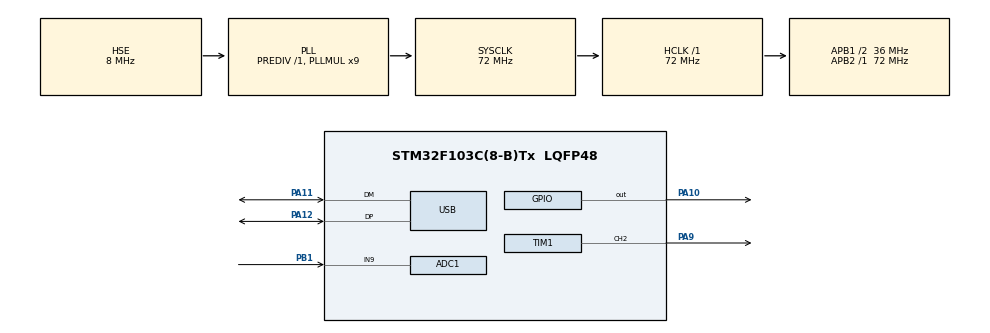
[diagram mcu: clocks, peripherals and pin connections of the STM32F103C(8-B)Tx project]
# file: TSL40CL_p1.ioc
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ADC1.Channel-1\#ChannelRegularConversion=ADC_CHANNEL_9
ADC1.ExternalTrigConv=ADC_EXTERNALTRIGCONV_T1_CC2
ADC1.NbrOfConversionFlag=1
ADC1.Rank-1\#ChannelRegularConversion=1
ADC1.SamplingTime-1\#ChannelRegularConversion=ADC_SAMPLETIME_1CYCLE_5
ADC1.master=1
Dma.ADC1.0.Direction=DMA_PERIPH_TO_MEMORY
Dma.ADC1.0.Instance=DMA1_Channel1
Dma.ADC1.0.MemDataAlignment=DMA_MDATAALIGN_HALFWORD
Dma.ADC1.0.MemInc=DMA_MINC_ENABLE
Dma.ADC1.0.Mode=DMA_NORMAL
Dma.ADC1.0.PeriphDataAlignment=DMA_PDATAALIGN_HALFWORD
Dma.ADC1.0.PeriphInc=DMA_PINC_DISABLE
Dma.ADC1.0.Priority=DMA_PRIORITY_LOW
Dma.Request0=ADC1
Mcu.Family=STM32F1
Mcu.Name=STM32F103C(8-B)Tx
Mcu.Package=LQFP48
NVIC.DMA1_Channel1_IRQn=true\:0\:0\:false\:false\:true\:false\:true\:true
NVIC.PriorityGroup=NVIC_PRIORITYGROUP_4
NVIC.USB_LP_CAN1_RX0_IRQn=true\:0\:0\:false\:false\:true\:false\:true\:true
PA10.Signal=GPIO_Output
PA11.Mode=Device
PA11.Signal=USB_DM
PA12.Mode=Device
PA12.Signal=USB_DP
PA9.Signal=S_TIM1_CH2
PB1.Signal=ADCx_IN9
PC14-OSC32_IN.Mode=LSE-External-Oscillator
PC14-OSC32_IN.Signal=RCC_OSC32_IN
PC15-OSC32_OUT.Mode=LSE-External-Oscillator
PC15-OSC32_OUT.Signal=RCC_OSC32_OUT
PD0-OSC_IN.Mode=HSE-External-Oscillator
PD0-OSC_IN.Signal=RCC_OSC_IN
PD1-OSC_OUT.Mode=HSE-External-Oscillator
PD1-OSC_OUT.Signal=RCC_OSC_OUT
ProjectManager.HeapSize=0x200
ProjectManager.StackSize=0x400
ProjectManager.TargetToolchain=STM32CubeIDE
RCC.ADCPresc=RCC_ADCPCLK2_DIV6
RCC.AHBFreq_Value=72000000
RCC.APB1CLKDivider=RCC_HCLK_DIV2
RCC.APB1Freq_Value=36000000
RCC.APB1TimFreq_Value=72000000
RCC.APB2Freq_Value=72000000
RCC.APB2TimFreq_Value=72000000
RCC.HCLKFreq_Value=72000000
RCC.PLLMUL=RCC_PLL_MUL9
RCC.SYSCLKFreq_VALUE=72000000
RCC.SYSCLKSource=RCC_SYSCLKSOURCE_PLLCLK
RCC.USBFreq_Value=48000000
RCC.USBPrescaler=RCC_USBCLKSOURCE_PLL_DIV1_5
SH.ADCx_IN9.0=ADC1_IN9,IN9
SH.S_TIM1_CH2.0=TIM1_CH2,PWM Generation2 CH2
TIM1.Channel-PWM\ Generation2\ CH2=TIM_CHANNEL_2
TIM1.Period=19
TIM1.Prescaler=71
TIM1.TIM_MasterOutputTrigger=TIM_TRGO_UPDATE
TIM1.TIM_MasterSlaveMode=TIM_MASTERSLAVEMODE_ENABLE
USB_DEVICE.CLASS_NAME_FS=CDC
USB_DEVICE.VirtualMode=Cdc
USB_DEVICE.VirtualModeFS=Cdc_FS
VP_SYS_VS_ND.Mode=No_Debug
VP_USB_DEVICE_VS_USB_DEVICE_CDC_FS.Mode=CDC_FS
board=custom

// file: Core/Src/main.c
/* USER CODE BEGIN Header */
/**
  ******************************************************************************
  * @file           : main.c
  * @brief          : Main program body
  ******************************************************************************
  * @attention
  *
  * Copyright (c) 2026 STMicroelectronics.
  * All rights reserved.
  *
  * This software is licensed under terms that can be found in the LICENSE file
  * in the root directory of this software component.
  * If no LICENSE file comes with this software, it is provided AS-IS.
  *
  ******************************************************************************
  */
/* USER CODE END Header */
#include "main.h"
#include "usb_device.h"

ADC_HandleTypeDef hadc1;
DMA_HandleTypeDef hdma_adc1;

TIM_HandleTypeDef htim1;

/* USER CODE BEGIN PV */
#define CCD_PIXELS 128
uint16_t ccd_buffer[CCD_PIXELS];
volatile uint8_t ccd_transfer_complete = 0;
extern void debug_print(char *msg);
/* USER CODE END PV */

void SystemClock_Config(void);
static void MX_GPIO_Init(void);
static void MX_DMA_Init(void);
static void MX_ADC1_Init(void);
static void MX_TIM1_Init(void);
/* USER CODE BEGIN PFP */

void Scan_CCD(void);
void delay_us(uint16_t us);

/* USER CODE END PFP */

int main(void)
{

  /* MCU Configuration--------------------------------------------------------*/

  /* Reset of all peripherals, Initializes the Flash interface and the Systick. */
  HAL_Init();

  /* Configure the system clock */
  SystemClock_Config();

  /* Initialize all configured peripherals */
  MX_GPIO_Init();
  MX_DMA_Init();
  MX_ADC1_Init();
  MX_USB_DEVICE_Init();
  MX_TIM1_Init();
  /* USER CODE BEGIN 2 */

  __HAL_TIM_SET_COMPARE(&htim1, TIM_CHANNEL_2, 9);

   char usb_tx_buffer[50];
  /* USER CODE END 2 */

  /* Infinite loop */
  while (1)
  {

    /* USER CODE BEGIN 3 */
	  Scan_CCD();

	  	        // Wait until DMA fills the ccd_buffer array
	  	        while (!ccd_transfer_complete);

	  	        // --- SEND DATA OVER USB SERIAL ---
	  	        for (int i = 0; i < CCD_PIXELS; i++)
	  	        {
	  	            // Format each pixel value separated by a space
	  	            snprintf(usb_tx_buffer, sizeof(usb_tx_buffer), "%d ", ccd_buffer[i]);
	  	            debug_print(usb_tx_buffer);

	  	            // Small delay to allow the USB endpoint buffer to clear out securely
	  	            HAL_Delay(1);
	  	        }

	  	        // Send a newline character sequence to indicate the end of this 128-pixel frame
	  	        debug_print("\r\n");

	  	        // Integration exposure padding control delay (Adjust for your frame rate / lighting)
	  	        HAL_Delay(500);
  }
  /* USER CODE END 3 */
}

void SystemClock_Config(void)
{
  RCC_OscInitTypeDef RCC_OscInitStruct = {0};
  RCC_ClkInitTypeDef RCC_ClkInitStruct = {0};
  RCC_PeriphCLKInitTypeDef PeriphClkInit = {0};

  /** Initializes the RCC Oscillators according to the specified parameters
  * in the RCC_OscInitTypeDef structure.
  */
  RCC_OscInitStruct.OscillatorType = RCC_OSCILLATORTYPE_HSE;
  RCC_OscInitStruct.HSEState = RCC_HSE_ON;
  RCC_OscInitStruct.HSEPredivValue = RCC_HSE_PREDIV_DIV1;
  RCC_OscInitStruct.HSIState = RCC_HSI_ON;
  RCC_OscInitStruct.PLL.PLLState = RCC_PLL_ON;
  RCC_OscInitStruct.PLL.PLLSource = RCC_PLLSOURCE_HSE;
  RCC_OscInitStruct.PLL.PLLMUL = RCC_PLL_MUL9;
  if (HAL_RCC_OscConfig(&RCC_OscInitStruct) != HAL_OK)
  {
    Error_Handler();
  }

  /** Initializes the CPU, AHB and APB buses clocks
  */
  RCC_ClkInitStruct.ClockType = RCC_CLOCKTYPE_HCLK|RCC_CLOCKTYPE_SYSCLK
                              |RCC_CLOCKTYPE_PCLK1|RCC_CLOCKTYPE_PCLK2;
  RCC_ClkInitStruct.SYSCLKSource = RCC_SYSCLKSOURCE_PLLCLK;
  RCC_ClkInitStruct.AHBCLKDivider = RCC_SYSCLK_DIV1;
  RCC_ClkInitStruct.APB1CLKDivider = RCC_HCLK_DIV2;
  RCC_ClkInitStruct.APB2CLKDivider = RCC_HCLK_DIV1;

  if (HAL_RCC_ClockConfig(&RCC_ClkInitStruct, FLASH_LATENCY_2) != HAL_OK)
  {
    Error_Handler();
  }
  PeriphClkInit.PeriphClockSelection = RCC_PERIPHCLK_ADC|RCC_PERIPHCLK_USB;
  PeriphClkInit.AdcClockSelection = RCC_ADCPCLK2_DIV6;
  PeriphClkInit.UsbClockSelection = RCC_USBCLKSOURCE_PLL_DIV1_5;
  if (HAL_RCCEx_PeriphCLKConfig(&PeriphClkInit) != HAL_OK)
  {
    Error_Handler();
  }
}

static void MX_ADC1_Init(void)
{

  ADC_ChannelConfTypeDef sConfig = {0};

  /** Common config
  */
  hadc1.Instance = ADC1;
  hadc1.Init.ScanConvMode = ADC_SCAN_DISABLE;
  hadc1.Init.ContinuousConvMode = DISABLE;
  hadc1.Init.DiscontinuousConvMode = DISABLE;
  hadc1.Init.ExternalTrigConv = ADC_EXTERNALTRIGCONV_T1_CC2;
  hadc1.Init.DataAlign = ADC_DATAALIGN_RIGHT;
  hadc1.Init.NbrOfConversion = 1;
  if (HAL_ADC_Init(&hadc1) != HAL_OK)
  {
    Error_Handler();
  }

  /** Configure Regular Channel
  */
  sConfig.Channel = ADC_CHANNEL_9;
  sConfig.Rank = ADC_REGULAR_RANK_1;
  sConfig.SamplingTime = ADC_SAMPLETIME_1CYCLE_5;
  if (HAL_ADC_ConfigChannel(&hadc1, &sConfig) != HAL_OK)
  {
    Error_Handler();
  }

}

static void MX_TIM1_Init(void)
{

  TIM_MasterConfigTypeDef sMasterConfig = {0};
  TIM_OC_InitTypeDef sConfigOC = {0};
  TIM_BreakDeadTimeConfigTypeDef sBreakDeadTimeConfig = {0};

  htim1.Instance = TIM1;
  htim1.Init.Prescaler = 71;
  htim1.Init.CounterMode = TIM_COUNTERMODE_UP;
  htim1.Init.Period = 19;
  htim1.Init.ClockDivision = TIM_CLOCKDIVISION_DIV1;
  htim1.Init.RepetitionCounter = 0;
  htim1.Init.AutoReloadPreload = TIM_AUTORELOAD_PRELOAD_DISABLE;
  if (HAL_TIM_PWM_Init(&htim1) != HAL_OK)
  {
    Error_Handler();
  }
  sMasterConfig.MasterOutputTrigger = TIM_TRGO_UPDATE;
  sMasterConfig.MasterSlaveMode = TIM_MASTERSLAVEMODE_ENABLE;
  if (HAL_TIMEx_MasterConfigSynchronization(&htim1, &sMasterConfig) != HAL_OK)
  {
    Error_Handler();
  }
  sConfigOC.OCMode = TIM_OCMODE_PWM1;
  sConfigOC.Pulse = 0;
  sConfigOC.OCPolarity = TIM_OCPOLARITY_HIGH;
  sConfigOC.OCNPolarity = TIM_OCNPOLARITY_HIGH;
  sConfigOC.OCFastMode = TIM_OCFAST_DISABLE;
  sConfigOC.OCIdleState = TIM_OCIDLESTATE_RESET;
  sConfigOC.OCNIdleState = TIM_OCNIDLESTATE_RESET;
  if (HAL_TIM_PWM_ConfigChannel(&htim1, &sConfigOC, TIM_CHANNEL_2) != HAL_OK)
  {
    Error_Handler();
  }
  sBreakDeadTimeConfig.OffStateRunMode = TIM_OSSR_DISABLE;
  sBreakDeadTimeConfig.OffStateIDLEMode = TIM_OSSI_DISABLE;
  sBreakDeadTimeConfig.LockLevel = TIM_LOCKLEVEL_OFF;
  sBreakDeadTimeConfig.DeadTime = 0;
  sBreakDeadTimeConfig.BreakState = TIM_BREAK_DISABLE;
  sBreakDeadTimeConfig.BreakPolarity = TIM_BREAKPOLARITY_HIGH;
  sBreakDeadTimeConfig.AutomaticOutput = TIM_AUTOMATICOUTPUT_DISABLE;
  if (HAL_TIMEx_ConfigBreakDeadTime(&htim1, &sBreakDeadTimeConfig) != HAL_OK)
  {
    Error_Handler();
  }
  HAL_TIM_MspPostInit(&htim1);

}

static void MX_DMA_Init(void)
{

  /* DMA controller clock enable */
  __HAL_RCC_DMA1_CLK_ENABLE();

  /* DMA interrupt init */
  /* DMA1_Channel1_IRQn interrupt configuration */
  HAL_NVIC_SetPriority(DMA1_Channel1_IRQn, 0, 0);
  HAL_NVIC_EnableIRQ(DMA1_Channel1_IRQn);

}

static void MX_GPIO_Init(void)
{
  GPIO_InitTypeDef GPIO_InitStruct = {0};

  /* GPIO Ports Clock Enable */
  __HAL_RCC_GPIOC_CLK_ENABLE();
  __HAL_RCC_GPIOD_CLK_ENABLE();
  __HAL_RCC_GPIOB_CLK_ENABLE();
  __HAL_RCC_GPIOA_CLK_ENABLE();

  /*Configure GPIO pin Output Level */
  HAL_GPIO_WritePin(GPIOA, GPIO_PIN_10, GPIO_PIN_RESET);

  /*Configure GPIO pin : PA10 */
  GPIO_InitStruct.Pin = GPIO_PIN_10;
  GPIO_InitStruct.Mode = GPIO_MODE_OUTPUT_PP;
  GPIO_InitStruct.Pull = GPIO_NOPULL;
  GPIO_InitStruct.Speed = GPIO_SPEED_FREQ_LOW;
  HAL_GPIO_Init(GPIOA, &GPIO_InitStruct);

}

/* USER CODE BEGIN 4 */

void HAL_ADC_ConvCpltCallback(ADC_HandleTypeDef* hadc)
{
    if (hadc->Instance == ADC1)
    {
        // Stop hardware clock output loops safely
        HAL_TIM_PWM_Stop(&htim1, TIM_CHANNEL_2);
        __HAL_TIM_MOE_DISABLE(&htim1); // Critical: turn off TIM1 outputs

        HAL_ADC_Stop_DMA(&hadc1);
        ccd_transfer_complete = 1;
    }
}

// Microsecond delay helper
void delay_us(uint16_t us)
{
    volatile uint32_t count = us * 8;
    while (count--);
}

void Scan_CCD(void)
{
    ccd_transfer_complete = 0;

    // 1. Generate the initial manual SI pulse on PA10 bound to one clock sequence
    HAL_GPIO_WritePin(GPIOA, GPIO_PIN_10, GPIO_PIN_SET);
    HAL_TIM_PWM_Start(&htim1, TIM_CHANNEL_2);
    __HAL_TIM_MOE_ENABLE(&htim1); // Force drive clock pin output high
    delay_us(10);

    HAL_GPIO_WritePin(GPIOA, GPIO_PIN_10, GPIO_PIN_RESET);
    HAL_TIM_PWM_Stop(&htim1, TIM_CHANNEL_2);
    __HAL_TIM_MOE_DISABLE(&htim1);
    delay_us(10);

    // 2. Refresh internal timer counters back to zero boundary alignment
    __HAL_TIM_SET_COUNTER(&htim1, 0);

    // 3. Re-engage the automated DMA background reception structure
    HAL_ADC_Start_DMA(&hadc1, (uint32_t*)ccd_buffer, CCD_PIXELS);

    // 4. Release TIM1 clock. Hardware will automatically step conversion index tracking
    HAL_TIM_PWM_Start(&htim1, TIM_CHANNEL_2);
    __HAL_TIM_MOE_ENABLE(&htim1);
}
/* USER CODE END 4 */

void Error_Handler(void)
{
  __disable_irq();
  while (1)
  {
  }
}
